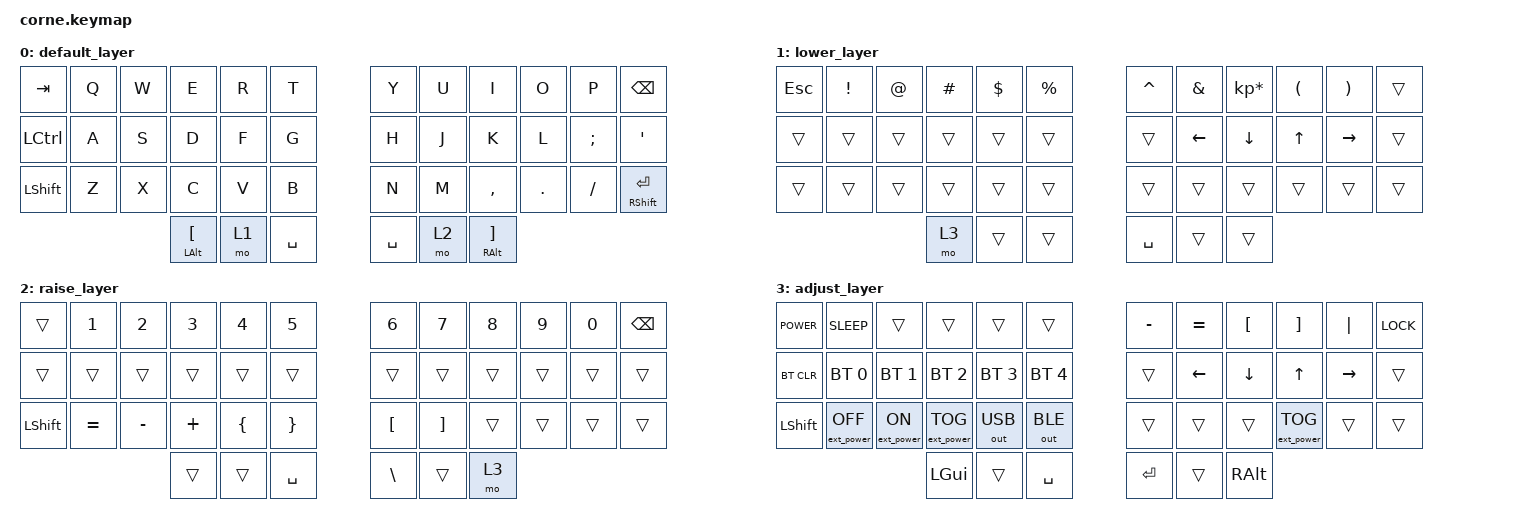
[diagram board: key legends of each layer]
/*
 * Copyright (c) 2020 The ZMK Contributors
 *
 * SPDX-License-Identifier: MIT
 */

#include <behaviors.dtsi>
#include <dt-bindings/zmk/keys.h>
#include <dt-bindings/zmk/bt.h>
#include <dt-bindings/zmk/ext_power.h>
#include <dt-bindings/zmk/outputs.h>


#define DEFAULT 0
#define LOWER   1
#define RAISE   2
#define ADJUST  3

/ {
	keymap {
        compatible = "zmk,keymap";

                default_layer {
					bindings = <
   &kp TAB   &kp Q &kp W &kp E &kp R &kp T   &kp Y &kp U  &kp I     &kp O   &kp P    &kp BSPC
   &kp LCTRL &kp A &kp S &kp D &kp F &kp G   &kp H &kp J  &kp K     &kp L   &kp SEMI &kp SQT
   &kp LSHFT &kp Z &kp X &kp C &kp V &kp B   &kp N &kp M  &kp COMMA &kp DOT &kp FSLH &mt RSHFT RET
                  &mt LALT LBKT &mo 1 &kp SPACE   &kp SPACE &mo 2 &mt RALT RBKT
                        >;
                };
				
                lower_layer {
					bindings = <
   &kp ESC  &kp EXCL  &kp AT  &kp HASH  &kp DLLR  &kp PRCNT      &kp CARET &kp AMPS  &kp KP_MULTIPLY &kp LPAR &kp RPAR &trans
   &trans &trans  &trans  &trans  &trans  &trans   &trans &kp LEFT  &kp DOWN &kp UP &kp RIGHT  &trans
   &trans  &trans   &trans  &trans  &trans &trans      &trans   &trans  &trans &trans &trans &trans
					&mo 3 &trans  &trans             			&kp SPACE &trans &trans
                        >;
                };

                raise_layer {
                        bindings = <
   &trans    &kp N1       &kp N2       &kp N3       &kp N4       &kp N5            &kp N6   &kp N7   &kp N8 &kp N9    &kp N0 &kp BSPC
   &trans  &trans 	&trans  &trans  &trans &trans      &trans &trans &trans &trans &trans &trans
   &kp LSHFT &kp EQUAL &kp MINUS &kp PLUS &kp LBRC &kp RBRC &kp LBKT &kp RBKT  &trans &trans &trans &trans
                                   &trans &trans &kp SPACE  &kp BSLH &trans &mo 3
                        >;
                };
				
                adjust_layer {
                        bindings = <
   &kp K_POWER &kp K_SLEEP    &trans  &trans    &trans    &trans      &kp MINUS &kp EQUAL &kp LBKT        &kp RBKT &kp PIPE &kp K_LOCK
   &bt BT_CLR &bt BT_SEL 0 &bt BT_SEL 1 &bt BT_SEL 2 &bt BT_SEL 3 &bt BT_SEL 4      &trans &kp LEFT &kp DOWN &kp UP &kp RIGHT &trans
   &kp LSHFT  &ext_power EP_OFF  &ext_power EP_ON  &ext_power EP_TOG  &out OUT_USB &out OUT_BLE &trans &trans &trans &ext_power EP_TOG &trans &trans
                                   &kp LGUI &trans &kp SPACE   &kp RET &trans &kp RALT
                        >;
                };
				
        };
};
